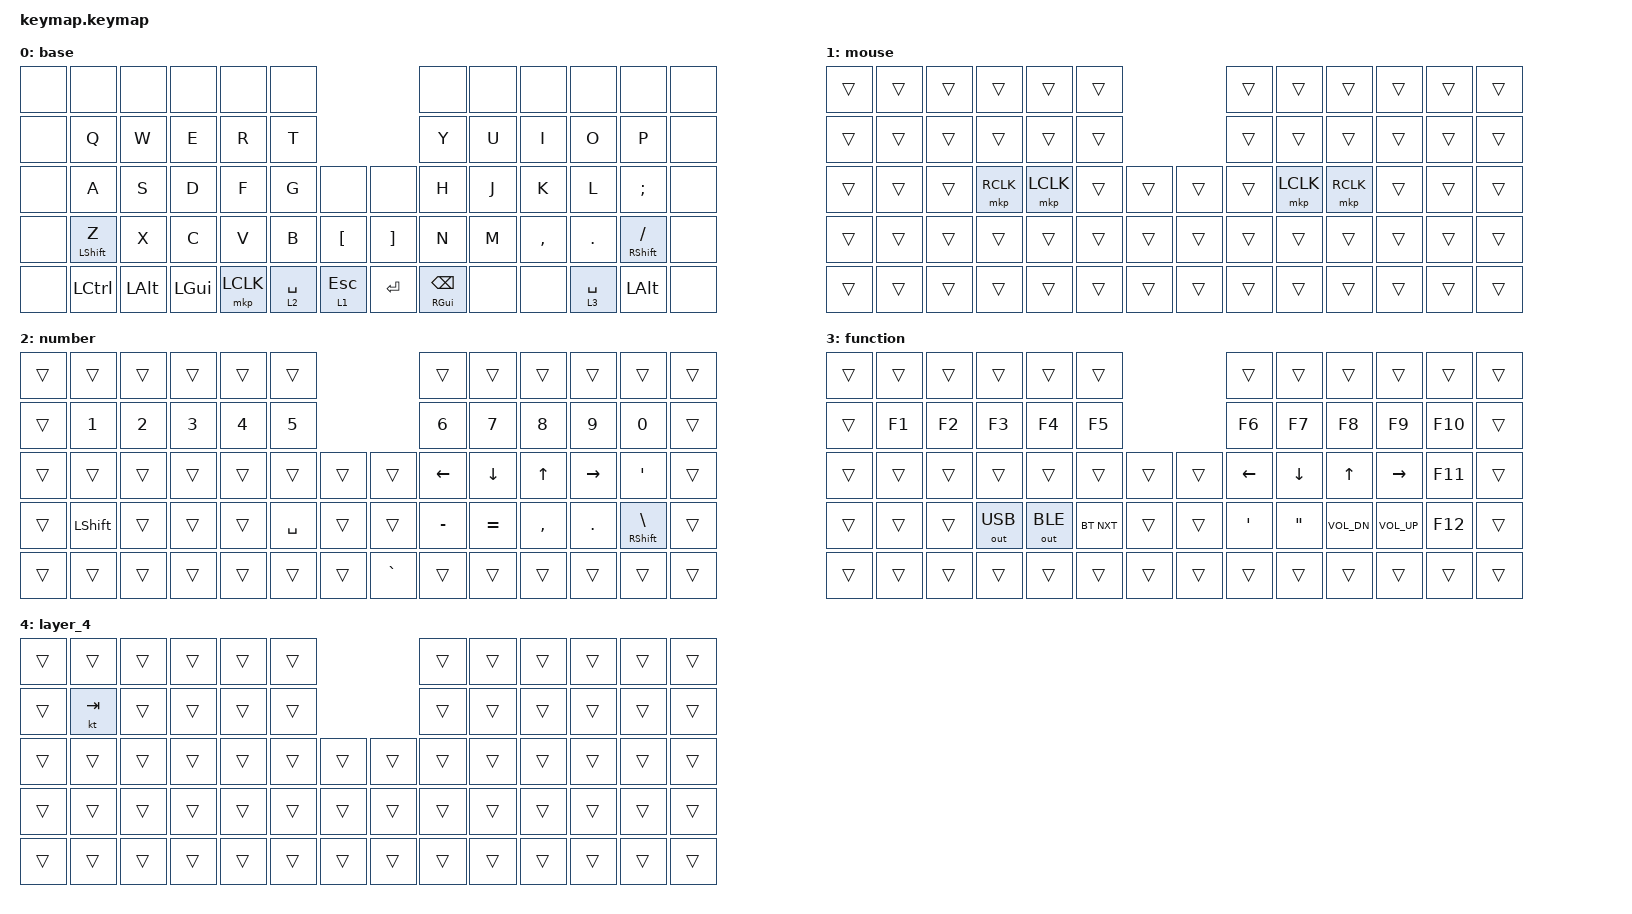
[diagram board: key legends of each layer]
#include <behaviors.dtsi>
#include <dt-bindings/zmk/bt.h>
#include <dt-bindings/zmk/keys.h>
#include <dt-bindings/zmk/outputs.h>
#include <dt-bindings/zmk/pointing.h>

&mt {
    require-prior-idle-ms = <150>;
    retro-tap;
    flavor = "balanced";
};

&lt {
    quick-tap-ms = <150>;
    flavor = "balanced";
};

/ {
    combos {
        compatible = "zmk,combos";

        tab {
            bindings = <&kp TAB>;
            key-positions = <13 14>;
        };

        backspace {
            bindings = <&kp BACKSPACE>;
            key-positions = <36 35>;
        };

        tab2 {
            bindings = <&kp TAB>;
            key-positions = <25 26>;
        };

        ctrl {
            bindings = <&kp LCTRL>;
            key-positions = <49 50>;
        };

        ctrl_tab {
            bindings = <&kp LC(TAB)>;
            key-positions = <26 27>;
        };
    };

    keymap {
        compatible = "zmk,keymap";

        base {
            bindings = <
&none  &none             &none         &none         &none      &none                                             &none                    &none  &none      &none        &none                 &none
&none  &kp Q             &kp W         &kp E         &kp R      &kp T                                             &kp Y                    &kp U  &kp I      &kp O        &kp P                 &none
&none  &kp A             &kp S         &kp D         &kp F      &kp G        &none             &none              &kp H                    &kp J  &kp K      &kp L        &kp SEMI              &none
&none  &mt LEFT_SHIFT Z  &kp X         &kp C         &kp V      &kp B        &kp LEFT_BRACKET  &kp RIGHT_BRACKET  &kp N                    &kp M  &kp COMMA  &kp DOT      &mt RIGHT_SHIFT FSLH  &none
&none  &kp LCTRL         &kp LEFT_ALT  &kp LEFT_GUI  &mkp LCLK  &lt 2 SPACE  &lt 1 ESCAPE      &kp ENTER          &mt RIGHT_GUI BACKSPACE  &none  &none      &lt 3 SPACE  &kp LEFT_ALT          &none
            >;
        };

        mouse {
            bindings = <
&trans  &trans  &trans  &trans     &trans     &trans                  &trans  &trans     &trans     &trans  &trans  &trans
&trans  &trans  &trans  &trans     &trans     &trans                  &trans  &trans     &trans     &trans  &trans  &trans
&trans  &trans  &trans  &mkp RCLK  &mkp LCLK  &trans  &trans  &trans  &trans  &mkp LCLK  &mkp RCLK  &trans  &trans  &trans
&trans  &trans  &trans  &trans     &trans     &trans  &trans  &trans  &trans  &trans     &trans     &trans  &trans  &trans
&trans  &trans  &trans  &trans     &trans     &trans  &trans  &trans  &trans  &trans     &trans     &trans  &trans  &trans
            >;
        };

        number {
            bindings = <
&trans  &trans        &trans        &trans  &trans  &trans                        &trans          &trans          &trans        &trans           &trans                     &trans
&trans  &kp NUMBER_1  &kp NUMBER_2  &kp N3  &kp N4  &kp N5                        &kp N6          &kp N7          &kp N8        &kp N9           &kp N0                     &trans
&trans  &trans        &trans        &trans  &trans  &trans     &trans  &trans     &kp LEFT_ARROW  &kp DOWN_ARROW  &kp UP_ARROW  &kp RIGHT_ARROW  &kp SINGLE_QUOTE           &trans
&trans  &kp LSHIFT    &trans        &trans  &trans  &kp SPACE  &trans  &trans     &kp MINUS       &kp EQUAL       &kp COMMA     &kp PERIOD       &mt RIGHT_SHIFT BACKSLASH  &trans
&trans  &trans        &trans        &trans  &trans  &trans     &trans  &kp GRAVE  &trans          &trans          &trans        &trans           &trans                     &trans
            >;
        };

        function {
            bindings = <
&trans  &trans  &trans  &trans        &trans        &trans                      &trans            &trans    &trans        &trans           &trans   &trans
&trans  &kp F1  &kp F2  &kp F3        &kp F4        &kp F5                      &kp F6            &kp F7    &kp F8        &kp F9           &kp F10  &trans
&trans  &trans  &trans  &trans        &trans        &trans      &trans  &trans  &kp LEFT          &kp DOWN  &kp UP_ARROW  &kp RIGHT        &kp F11  &trans
&trans  &trans  &trans  &out OUT_USB  &out OUT_BLE  &bt BT_NXT  &trans  &trans  &kp SINGLE_QUOTE  &kp DQT   &kp C_VOL_DN  &kp C_VOLUME_UP  &kp F12  &trans
&trans  &trans  &trans  &trans        &trans        &trans      &trans  &trans  &trans            &trans    &trans        &trans           &trans   &trans
            >;
        };

        layer_4 {
            bindings = <
&trans  &trans   &trans  &trans  &trans  &trans                  &trans  &trans  &trans  &trans  &trans  &trans
&trans  &kt TAB  &trans  &trans  &trans  &trans                  &trans  &trans  &trans  &trans  &trans  &trans
&trans  &trans   &trans  &trans  &trans  &trans  &trans  &trans  &trans  &trans  &trans  &trans  &trans  &trans
&trans  &trans   &trans  &trans  &trans  &trans  &trans  &trans  &trans  &trans  &trans  &trans  &trans  &trans
&trans  &trans   &trans  &trans  &trans  &trans  &trans  &trans  &trans  &trans  &trans  &trans  &trans  &trans
            >;
        };
    };
};
